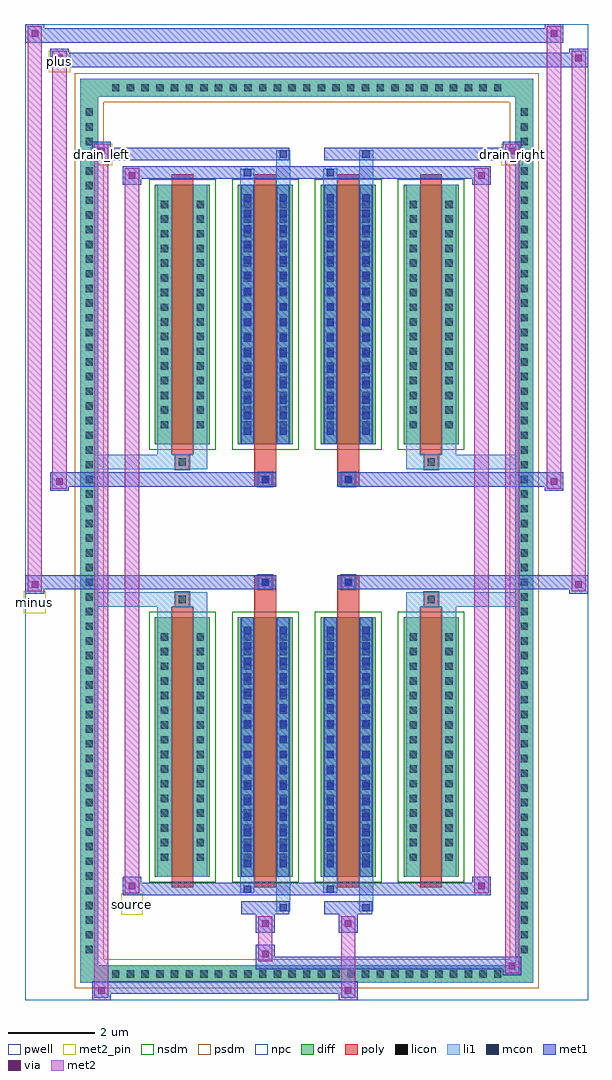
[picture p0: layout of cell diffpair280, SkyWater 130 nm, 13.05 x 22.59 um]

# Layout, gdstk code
import gdstk
lib = gdstk.Library(unit=1e-6, precision=5e-09)
def R(c, l, rs):  # rectangles x0, y0, x1, y1
    for r in rs: c.add(gdstk.rectangle(r[:2], r[2:], *l))
def A(c, l, x, y, w, h, nx, ny, dx, dy):  # array of equal rectangles
    R(c, l, [(x+i*dx, y+j*dy, x+i*dx+w, y+j*dy+h) for i in range(nx) for j in range(ny)])
def P(c, l, *ps):  # polygons
    for p in ps: c.add(gdstk.Polygon(p, *l))
pwell = (64, 44)
diff = (65, 20)
poly = (66, 20)
licon = (66, 44)
li1 = (67, 20)
mcon = (67, 44)
met1 = (68, 20)
via = (68, 44)
met2_pin = (69, 16)
met2 = (69, 20)
nsdm = (93, 44)
psdm = (94, 20)
npc = (95, 20)

diffpair280 = lib.new_cell('diffpair280')
R(diffpair280, pwell, [(-6.51,-10.86,6.51,11.73), (-3.83,-9.05,-0.01,-0.825), (0.01,-9.05,3.83,-0.825), (-3.83,0.825,-0.01,9.05), (0.01,0.825,3.83,9.05)])
A(diffpair280, diff, -4.625, -10.46, 0.41, 0.41, 27, 2, 0.34, 20.51)
A(diffpair280, diff, -5.24, -9.895, 0.41, 0.41, 1, 58, 0, 0.34)
A(diffpair280, diff, 4.83, -9.895, 0.41, 0.41, 1, 58, 0, 0.34)
A(diffpair280, diff, -3.52, -8.005, 1.28, 6, 4, 2, 1.92, 10.01)
R(diffpair280, diff, [(-4.625,-10.46,4.625,-10.05), (-5.24,-9.895,-4.83,9.895), (4.83,-9.895,5.24,9.895), (-4.625,10.05,4.625,10.46)])
P(diffpair280, diff, [(5.24,10.46),(-5.24,10.46),(-5.24,-10.05),(-4.83,-10.05),(-4.83,10.05),(4.83,10.05),(4.83,-10.05),(-4.83,-10.05),(-5.24,-10.05),(-5.24,-10.46),(5.24,-10.46)])
A(diffpair280, poly, -3.13, -8.255, 0.5, 6.5, 4, 2, 1.92, 10.01)
R(diffpair280, poly, [(-3.045,-1.755,-2.715,-1.425), (-3.045,-1.755,-2.715,-1.425), (-1.21,-1.755,-0.71,-1.355), (0.71,-1.755,1.21,-1.355), (2.715,-1.755,3.045,-1.425), (2.715,-1.755,3.045,-1.425), (-1.21,-1.355,-0.71,-1.025), (-1.125,-1.355,-0.795,-1.025), (0.71,-1.355,1.21,-1.025), (0.795,-1.355,1.125,-1.025), (-1.21,1.025,-0.71,1.355), (-1.125,1.025,-0.795,1.355), (0.71,1.025,1.21,1.355), (0.795,1.025,1.125,1.355), (-1.21,1.355,-0.71,1.755), (0.71,1.355,1.21,1.755), (-3.045,1.425,-2.715,1.755), (-3.045,1.425,-2.715,1.755), (2.715,1.425,3.045,1.755), (2.715,1.425,3.045,1.755)])
A(diffpair280, licon, -4.505, -10.34, 0.17, 0.17, 27, 2, 0.34, 20.51)
A(diffpair280, licon, -5.12, -9.775, 0.17, 0.17, 1, 58, 0, 0.34)
A(diffpair280, licon, 4.95, -9.775, 0.17, 0.17, 1, 58, 0, 0.34)
A(diffpair280, licon, -3.38, -7.64, 0.17, 0.17, 1, 16, 0, 0.34)
A(diffpair280, licon, -2.55, -7.64, 0.17, 0.17, 1, 16, 0, 0.34)
A(diffpair280, licon, -1.46, -7.64, 0.17, 0.17, 1, 16, 0, 0.34)
A(diffpair280, licon, -0.63, -7.64, 0.17, 0.17, 1, 16, 0, 0.34)
A(diffpair280, licon, 0.46, -7.64, 0.17, 0.17, 1, 16, 0, 0.34)
A(diffpair280, licon, 1.29, -7.64, 0.17, 0.17, 1, 16, 0, 0.34)
A(diffpair280, licon, 2.38, -7.64, 0.17, 0.17, 1, 16, 0, 0.34)
A(diffpair280, licon, 3.21, -7.64, 0.17, 0.17, 1, 16, 0, 0.34)
A(diffpair280, licon, -3.38, 2.37, 0.17, 0.17, 1, 16, 0, 0.34)
A(diffpair280, licon, -2.55, 2.37, 0.17, 0.17, 1, 16, 0, 0.34)
A(diffpair280, licon, -1.46, 2.37, 0.17, 0.17, 1, 16, 0, 0.34)
A(diffpair280, licon, -0.63, 2.37, 0.17, 0.17, 1, 16, 0, 0.34)
A(diffpair280, licon, 0.46, 2.37, 0.17, 0.17, 1, 16, 0, 0.34)
A(diffpair280, licon, 1.29, 2.37, 0.17, 0.17, 1, 16, 0, 0.34)
A(diffpair280, licon, 2.38, 2.37, 0.17, 0.17, 1, 16, 0, 0.34)
A(diffpair280, licon, 3.21, 2.37, 0.17, 0.17, 1, 16, 0, 0.34)
R(diffpair280, licon, [(-2.965,-1.675,-2.795,-1.505), (2.795,-1.675,2.965,-1.505), (-1.045,-1.275,-0.875,-1.105), (0.875,-1.275,1.045,-1.105), (-1.045,1.105,-0.875,1.275), (0.875,1.105,1.045,1.275), (-2.965,1.505,-2.795,1.675), (2.795,1.505,2.965,1.675)])
A(diffpair280, li1, -4.585, -10.42, 0.33, 0.33, 27, 2, 0.34, 20.51)
A(diffpair280, li1, -5.2, -9.855, 0.33, 0.33, 1, 58, 0, 0.34)
A(diffpair280, li1, 4.87, -9.855, 0.33, 0.33, 1, 58, 0, 0.34)
A(diffpair280, li1, -1.46, -7.79, 0.17, 0.17, 1, 16, 0, 0.36)
A(diffpair280, li1, -0.63, -7.79, 0.17, 0.17, 1, 16, 0, 0.36)
A(diffpair280, li1, 0.46, -7.79, 0.17, 0.17, 1, 16, 0, 0.36)
A(diffpair280, li1, 1.29, -7.79, 0.17, 0.17, 1, 16, 0, 0.36)
A(diffpair280, li1, -3.46, -7.72, 0.33, 0.33, 1, 16, 0, 0.34)
A(diffpair280, li1, -2.63, -7.72, 0.33, 0.33, 1, 16, 0, 0.34)
A(diffpair280, li1, -1.54, -7.72, 0.33, 0.33, 1, 16, 0, 0.34)
A(diffpair280, li1, -0.71, -7.72, 0.33, 0.33, 1, 16, 0, 0.34)
A(diffpair280, li1, 0.38, -7.72, 0.33, 0.33, 1, 16, 0, 0.34)
A(diffpair280, li1, 1.21, -7.72, 0.33, 0.33, 1, 16, 0, 0.34)
A(diffpair280, li1, 2.3, -7.72, 0.33, 0.33, 1, 16, 0, 0.34)
A(diffpair280, li1, 3.13, -7.72, 0.33, 0.33, 1, 16, 0, 0.34)
A(diffpair280, li1, -1.46, 2.22, 0.17, 0.17, 1, 16, 0, 0.36)
A(diffpair280, li1, -0.63, 2.22, 0.17, 0.17, 1, 16, 0, 0.36)
A(diffpair280, li1, 0.46, 2.22, 0.17, 0.17, 1, 16, 0, 0.36)
A(diffpair280, li1, 1.29, 2.22, 0.17, 0.17, 1, 16, 0, 0.36)
A(diffpair280, li1, -3.46, 2.29, 0.33, 0.33, 1, 16, 0, 0.34)
A(diffpair280, li1, -2.63, 2.29, 0.33, 0.33, 1, 16, 0, 0.34)
A(diffpair280, li1, -1.54, 2.29, 0.33, 0.33, 1, 16, 0, 0.34)
A(diffpair280, li1, -0.71, 2.29, 0.33, 0.33, 1, 16, 0, 0.34)
A(diffpair280, li1, 0.38, 2.29, 0.33, 0.33, 1, 16, 0, 0.34)
A(diffpair280, li1, 1.21, 2.29, 0.33, 0.33, 1, 16, 0, 0.34)
A(diffpair280, li1, 2.3, 2.29, 0.33, 0.33, 1, 16, 0, 0.34)
A(diffpair280, li1, 3.13, 2.29, 0.33, 0.33, 1, 16, 0, 0.34)
R(diffpair280, li1, [(-5.24,-10.46,-4.83,-10.05), (-5.24,-10.46,-4.83,-10.05), (-4.83,-10.46,4.83,-10.05), (4.83,-10.46,5.24,-10.05), (4.83,-10.46,5.24,-10.05), (-5.24,-10.05,-4.83,10.05), (4.83,-10.05,5.24,10.05), (-0.71,-8.81,-0.38,-8.005), (-0.63,-8.81,-0.46,-8.64), (1.21,-8.81,1.54,-8.005), (1.29,-8.81,1.46,-8.64), (-1.54,-8.38,-1.21,-8.005), (-1.46,-8.38,-1.29,-8.21), (0.38,-8.38,0.71,-8.005), (0.46,-8.38,0.63,-8.21), (-3.46,-8.005,-3.13,-2.005), (-2.63,-8.005,-2.3,-2.005), (-1.54,-8.005,-1.21,-2.005), (-0.71,-8.005,-0.38,-2.005), (0.38,-8.005,0.71,-2.005), (1.21,-8.005,1.54,-2.005), (2.3,-8.005,2.63,-2.005), (3.13,-8.005,3.46,-2.005), (-1.46,-7.79,-1.29,-2.22), (-0.63,-7.79,-0.46,-2.22), (0.46,-7.79,0.63,-2.22), (1.29,-7.79,1.46,-2.22), (-3.46,-2.005,-3.13,-1.425), (-2.63,-2.005,-2.3,-1.425), (2.3,-2.005,2.63,-1.425), (3.13,-2.005,3.46,-1.425), (-5.24,-1.755,-3.045,-1.425), (-3.46,-1.755,-3.045,-1.425), (-3.045,-1.755,-2.715,-1.425), (-2.715,-1.755,-2.3,-1.425), (2.3,-1.755,2.715,-1.425), (2.715,-1.755,3.045,-1.425), (2.715,-1.755,5.24,-1.425), (3.045,-1.755,3.46,-1.425), (-1.125,-1.355,-0.795,-1.025), (0.795,-1.355,1.125,-1.025), (-1.125,1.025,-0.795,1.355), (0.795,1.025,1.125,1.355), (-5.24,1.425,-3.045,1.755), (-3.46,1.425,-3.045,1.755), (-3.46,1.425,-3.13,2.005), (-3.045,1.425,-2.715,1.755), (-2.715,1.425,-2.3,1.755), (-2.63,1.425,-2.3,2.005), (2.3,1.425,2.715,1.755), (2.3,1.425,2.63,2.005), (2.715,1.425,3.045,1.755), (2.715,1.425,5.24,1.755), (3.045,1.425,3.46,1.755), (3.13,1.425,3.46,2.005), (-3.46,2.005,-3.13,8.005), (-2.63,2.005,-2.3,8.005), (-1.54,2.005,-1.21,8.005), (-0.71,2.005,-0.38,8.005), (0.38,2.005,0.71,8.005), (1.21,2.005,1.54,8.005), (2.3,2.005,2.63,8.005), (3.13,2.005,3.46,8.005), (-1.46,2.22,-1.29,7.79), (-0.63,2.22,-0.46,7.79), (0.46,2.22,0.63,7.79), (1.29,2.22,1.46,7.79), (-1.54,8.005,-1.21,8.38), (-0.71,8.005,-0.38,8.81), (0.38,8.005,0.71,8.38), (1.21,8.005,1.54,8.81), (-1.46,8.21,-1.29,8.38), (0.46,8.21,0.63,8.38), (-0.63,8.64,-0.46,8.81), (1.29,8.64,1.46,8.81), (-5.24,10.05,-4.83,10.46), (-5.24,10.05,-4.83,10.46), (-4.83,10.05,4.83,10.46), (4.83,10.05,5.24,10.46), (4.83,10.05,5.24,10.46)])
A(diffpair280, mcon, -1.46, -7.79, 0.17, 0.17, 1, 16, 0, 0.36)
A(diffpair280, mcon, -0.63, -7.79, 0.17, 0.17, 1, 16, 0, 0.36)
A(diffpair280, mcon, 0.46, -7.79, 0.17, 0.17, 1, 16, 0, 0.36)
A(diffpair280, mcon, 1.29, -7.79, 0.17, 0.17, 1, 16, 0, 0.36)
A(diffpair280, mcon, -1.46, 2.22, 0.17, 0.17, 1, 16, 0, 0.36)
A(diffpair280, mcon, -0.63, 2.22, 0.17, 0.17, 1, 16, 0, 0.36)
A(diffpair280, mcon, 0.46, 2.22, 0.17, 0.17, 1, 16, 0, 0.36)
A(diffpair280, mcon, 1.29, 2.22, 0.17, 0.17, 1, 16, 0, 0.36)
R(diffpair280, mcon, [(-0.63,-8.81,-0.46,-8.64), (1.29,-8.81,1.46,-8.64), (-1.46,-8.38,-1.29,-8.21), (0.46,-8.38,0.63,-8.21), (-1.045,-1.275,-0.875,-1.105), (0.875,-1.275,1.045,-1.105), (-1.045,1.105,-0.875,1.275), (0.875,1.105,1.045,1.275), (-1.46,8.21,-1.29,8.38), (0.46,8.21,0.63,8.38), (-0.63,8.64,-0.46,8.81), (1.29,8.64,1.46,8.81)])
A(diffpair280, met1, -1.52, -7.85, 0.29, 0.29, 1, 16, 0, 0.36)
A(diffpair280, met1, -0.69, -7.85, 0.29, 0.29, 1, 16, 0, 0.36)
A(diffpair280, met1, 0.4, -7.85, 0.29, 0.29, 1, 16, 0, 0.36)
A(diffpair280, met1, 1.23, -7.85, 0.29, 0.29, 1, 16, 0, 0.36)
A(diffpair280, met1, -1.52, 2.16, 0.29, 0.29, 1, 16, 0, 0.36)
A(diffpair280, met1, -0.69, 2.16, 0.29, 0.29, 1, 16, 0, 0.36)
A(diffpair280, met1, 0.4, 2.16, 0.29, 0.29, 1, 16, 0, 0.36)
A(diffpair280, met1, 1.23, 2.16, 0.29, 0.29, 1, 16, 0, 0.36)
R(diffpair280, met1, [(-4.97,-10.86,-4.54,-10.43), (0.745,-10.86,1.175,-10.43), (-4.97,-10.72,1.175,-10.43), (4.54,-10.29,4.97,-9.86), (-1.175,-10.15,4.97,-9.86), (-1.175,-10.01,-0.745,-9.58), (-1.175,-9.3,-0.745,-8.87), (0.745,-9.3,1.175,-8.87), (-1.52,-8.87,-0.4,-8.58), (-0.69,-8.87,-0.4,-8.58), (0.4,-8.87,1.52,-8.58), (1.23,-8.87,1.52,-8.58), (-4.26,-8.44,-3.83,-8.01), (-4.26,-8.44,-1.52,-8.15), (-1.52,-8.44,-1.23,-8.15), (-1.52,-8.44,-0.4,-8.15), (-0.4,-8.44,0.4,-8.15), (0.4,-8.44,0.69,-8.15), (0.4,-8.44,1.52,-8.15), (1.52,-8.44,4.26,-8.15), (3.83,-8.44,4.26,-8.01), (-1.52,-8.005,-1.23,-2.005), (-0.69,-8.005,-0.4,-2.005), (0.4,-8.005,0.69,-2.005), (1.23,-8.005,1.52,-2.005), (-6.51,-1.455,-6.08,-1.025), (6.08,-1.455,6.51,-1.025), (-6.51,-1.355,-0.71,-1.025), (-1.21,-1.355,-0.71,-1.025), (0.71,-1.355,1.21,-1.025), (0.71,-1.355,6.51,-1.025), (-1.105,-1.335,-0.815,-1.045), (0.815,-1.335,1.105,-1.045), (-5.94,0.925,-5.51,1.355), (5.51,0.925,5.94,1.355), (-5.94,1.025,-1.21,1.355), (-1.21,1.025,-0.71,1.355), (0.71,1.025,1.21,1.355), (1.21,1.025,5.94,1.355), (-1.105,1.045,-0.815,1.335), (0.815,1.045,1.105,1.335), (-1.52,2.005,-1.23,8.005), (-0.69,2.005,-0.4,8.005), (0.4,2.005,0.69,8.005), (1.23,2.005,1.52,8.005), (-4.26,8.01,-3.83,8.44), (3.83,8.01,4.26,8.44), (-4.26,8.15,-1.52,8.44), (-1.52,8.15,-1.23,8.44), (-1.52,8.15,-0.4,8.44), (-0.4,8.15,0.4,8.44), (0.4,8.15,0.69,8.44), (0.4,8.15,1.52,8.44), (1.52,8.15,4.26,8.44), (-4.97,8.58,-4.54,9.01), (-4.97,8.58,-1.52,8.87), (-1.52,8.58,-0.4,8.87), (-0.69,8.58,-0.4,8.87), (0.4,8.58,1.52,8.87), (1.23,8.58,1.52,8.87), (1.52,8.58,4.97,8.87), (4.54,8.58,4.97,9.01), (-5.94,10.73,-5.51,11.16), (-5.94,10.73,-3.83,11.06), (-3.83,10.73,3.83,11.06), (3.83,10.73,6.51,11.06), (6.08,10.73,6.51,11.16), (-6.51,11.3,-6.08,11.73), (-6.51,11.3,-3.83,11.63), (-3.83,11.3,3.83,11.63), (3.83,11.3,5.94,11.63), (5.51,11.3,5.94,11.73)])
R(diffpair280, via, [(-4.83,-10.72,-4.68,-10.57), (0.885,-10.72,1.035,-10.57), (4.68,-10.15,4.83,-10), (-1.035,-9.87,-0.885,-9.72), (-1.035,-9.16,-0.885,-9.01), (0.885,-9.16,1.035,-9.01), (-4.12,-8.3,-3.97,-8.15), (3.97,-8.3,4.12,-8.15), (-6.37,-1.315,-6.22,-1.165), (6.22,-1.315,6.37,-1.165), (-5.8,1.065,-5.65,1.215), (5.65,1.065,5.8,1.215), (-4.12,8.15,-3.97,8.3), (3.97,8.15,4.12,8.3), (-4.83,8.72,-4.68,8.87), (4.68,8.72,4.83,8.87), (-5.8,10.87,-5.65,11.02), (6.22,10.87,6.37,11.02), (-6.37,11.44,-6.22,11.59), (5.65,11.44,5.8,11.59)])
R(diffpair280, met2_pin, [(-4.295,-8.89,-3.795,-8.39), (-6.545,-1.905,-6.045,-1.405), (-5.005,8.46,-4.505,8.96), (4.505,8.46,5.005,8.96), (-5.975,10.61,-5.475,11.11)])
R(diffpair280, met2, [(-4.92,-10.81,-4.59,-10.48), (-4.92,-10.81,-4.59,8.96), (0.795,-10.81,1.125,-10.48), (0.795,-10.48,1.125,-9.25), (4.59,-10.24,4.92,-9.91), (4.59,-10.24,4.92,8.96), (-1.125,-9.96,-0.795,-9.63), (-1.125,-9.63,-0.795,-9.25), (-1.125,-9.25,-0.795,-8.92), (0.795,-9.25,1.125,-8.92), (-4.21,-8.39,-3.88,-8.06), (-4.21,-8.39,-3.88,8.39), (3.88,-8.39,4.21,-8.06), (3.88,-8.39,4.21,8.39), (-6.46,-1.405,-6.13,-1.075), (-6.46,-1.405,-6.13,11.68), (6.13,-1.405,6.46,-1.075), (6.13,-1.405,6.46,11.11), (-5.89,0.975,-5.56,1.305), (-5.89,0.975,-5.56,11.11), (5.56,0.975,5.89,1.305), (5.56,0.975,5.89,11.68), (-4.21,8.06,-3.88,8.39), (3.88,8.06,4.21,8.39), (-4.92,8.63,-4.59,8.96), (4.59,8.63,4.92,8.96), (-5.89,10.78,-5.56,11.11), (6.13,10.78,6.46,11.11), (-6.46,11.35,-6.13,11.68), (5.56,11.35,5.89,11.68)])
P(diffpair280, met2, [(6.46,-1.405),(6.46,-1.405),(6.46,-1.075),(6.46,-1.075)],
  [(6.46,10.78),(6.46,10.78),(6.46,11.11),(6.46,11.11)],
  [(-6.13,-1.405),(-6.13,-1.405),(-6.13,-1.075),(-6.13,-1.075)],
  [(-6.13,11.35),(-6.13,11.35),(-6.13,11.68),(-6.13,11.68)],
  [(5.89,0.975),(5.89,0.975),(5.89,1.305),(5.89,1.305)],
  [(5.89,11.35),(5.89,11.35),(5.89,11.68),(5.89,11.68)],
  [(-5.56,0.975),(-5.56,0.975),(-5.56,1.305),(-5.56,1.305)],
  [(-5.56,10.78),(-5.56,10.78),(-5.56,11.11),(-5.56,11.11)],
  [(-4.59,-10.81),(-4.59,-10.81),(-4.59,-10.48),(-4.59,-10.48)],
  [(-4.59,8.63),(-4.59,8.63),(-4.59,8.96),(-4.59,8.96)],
  [(4.92,-10.24),(4.92,-10.24),(4.92,-9.91),(4.92,-9.91)],
  [(4.92,8.63),(4.92,8.63),(4.92,8.96),(4.92,8.96)],
  [(-3.88,-8.39),(-3.88,-8.39),(-3.88,-8.06),(-3.88,-8.06)],
  [(-3.88,8.06),(-3.88,8.06),(-3.88,8.39),(-3.88,8.39)],
  [(4.21,-8.39),(4.21,-8.39),(4.21,-8.06),(4.21,-8.06)],
  [(4.21,8.06),(4.21,8.06),(4.21,8.39),(4.21,8.39)])
A(diffpair280, nsdm, -3.65, -8.135, 1.54, 6.26, 4, 2, 1.92, 10.01)
P(diffpair280, psdm, [(5.37,10.59),(-5.37,10.59),(-5.37,-9.92),(-4.7,-9.92),(-4.7,9.92),(4.7,9.92),(4.7,-9.92),(-4.7,-9.92),(-5.37,-9.92),(-5.37,-10.59),(5.37,-10.59)])
R(diffpair280, npc, [(-3.065,-1.775,-2.695,-1.405), (2.695,-1.775,3.065,-1.405), (-1.145,-1.375,-0.775,-1.005), (0.775,-1.375,1.145,-1.005), (-1.145,1.005,-0.775,1.375), (0.775,1.005,1.145,1.375), (-3.065,1.405,-2.695,1.775), (2.695,1.405,3.065,1.775)])
diffpair280.add(gdstk.Label('minus', (-6.295,-1.655), layer=69, texttype=5))
diffpair280.add(gdstk.Label('drain_right', (4.755,8.71), layer=69, texttype=5))
diffpair280.add(gdstk.Label('drain_left', (-4.755,8.71), layer=69, texttype=5))
diffpair280.add(gdstk.Label('source', (-4.045,-8.64), layer=69, texttype=5))
diffpair280.add(gdstk.Label('plus', (-5.725,10.86), layer=69, texttype=5))

lib.write_gds('diffpair280.gds')
